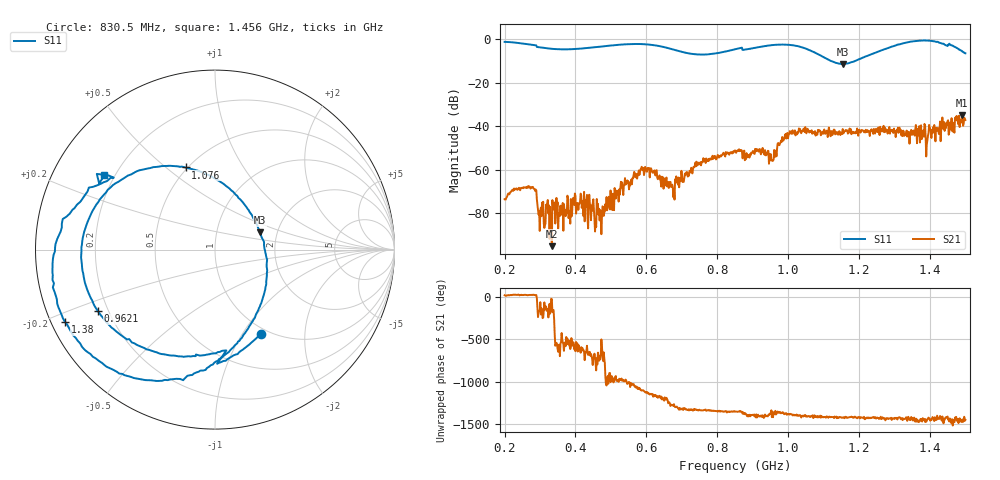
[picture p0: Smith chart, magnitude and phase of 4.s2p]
! NanoVNA-App
! Date: 2024-06-25 16:48:18
! Start: 200MHz Stop: 1.5GHz Points: 801
! S-Parameter data: F S11 S21 S12 S22
# Hz S RI R 50
!  Frequency  S11_Real  S11_Imag  S21_Real  S21_Imag  S12_Real  S12_Imag  S22_Real  S22_Imag
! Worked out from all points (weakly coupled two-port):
!   801 points, 200 MHz to 1.5 GHz, reference 50 ohm
!   highest |S21| = -35.04 dB at 1.49 GHz (marker M1); lowest = -95.1 dB at 333.2 MHz (marker M2)
!   lowest |S11| = -11.4 dB at 1.154 GHz (marker M3), VSWR 1.73, Z = 81.2 + j16.8 ohm
!   |S11| at or under -10 dB: 1.12 GHz to 1.19 GHz (70.05 MHz wide, 6.07 % of centre)
!   S12 and S22 are empty: the file has one direction only
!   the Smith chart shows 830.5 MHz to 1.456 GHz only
!   S11 on the Smith chart (normalised r, x): 830.5 MHz: 0.92, -1.21; 962.1 MHz: 0.16, -0.24; 1.076 GHz: 0.49, +0.58; 1.38 GHz: 0.04, -0.23; 1.456 GHz: 0.16, +0.30
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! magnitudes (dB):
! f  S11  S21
! 200 MHz  -1.3  -73.5
! 273.1 MHz  -2.5  -68.7
! 297.5 MHz  -3.8  -79.1
! 333.2 MHz  -4.5  -95.1
! 417.8 MHz  -4.3  -77.5
! 474.6 MHz  -3.4  -81.7
! 585.1 MHz  -2.3  -59.9
! 633.9 MHz  -3.1  -63.7
! 676.1 MHz  -4.8  -72.6
! 739.5 MHz  -7.0  -58.4
! 830.5 MHz  -5.5  -52.5
! 850 MHz  -4.7  -51.1
! 962.1 MHz  -2.7  -54.2
! 1.003 GHz  -2.6  -43.7
! 1.068 GHz  -5.6  -43.5
! 1.076 GHz  -6.3  -42.3
! 1.154 GHz  -11.4  -41.3
! 1.284 GHz  -4.0  -41.6
! 1.38 GHz  -0.6  -43.9
! 1.456 GHz  -2.5  -38.3
! 1.49 GHz  -5.5  -35.0
! 1.5 GHz  -6.5  -37.2
